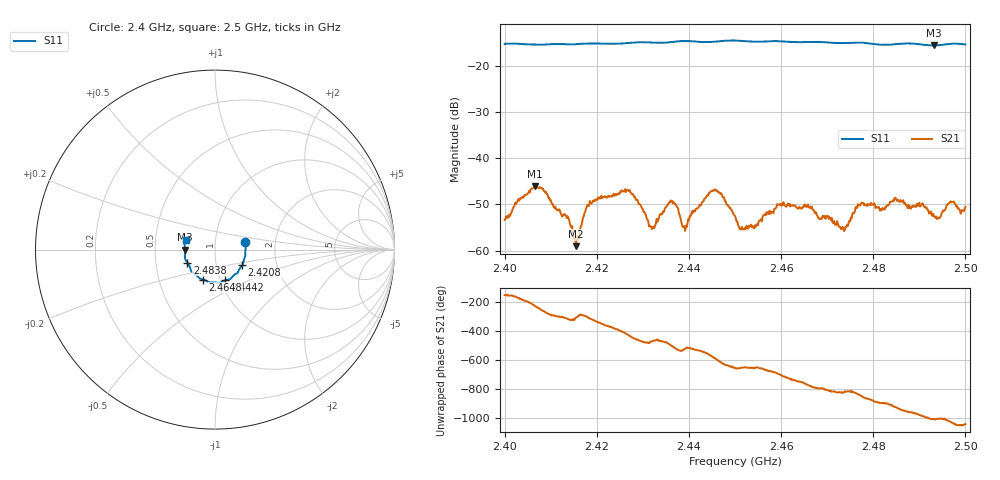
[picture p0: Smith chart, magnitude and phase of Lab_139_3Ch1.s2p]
# Hz S RI R 50
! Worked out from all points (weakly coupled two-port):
!   601 points, 2.4 GHz to 2.5 GHz, reference 50 ohm
!   highest |S21| = -46.02 dB at 2.4065 GHz (marker M1); lowest = -59.0 dB at 2.4155 GHz (marker M2)
!   lowest |S11| = -15.6 dB at 2.4932 GHz (marker M3), VSWR 1.40, Z = 35.8 - j0.0773 ohm
!   |S11| at or under -10 dB: start of sweep to end of sweep
!   S12 and S22 are empty: the file has one direction only
!   S11 on the Smith chart (normalised r, x): 2.4 GHz: 1.40, +0.12; 2.4208 GHz: 1.33, -0.24; 2.4442 GHz: 1.05, -0.37; 2.4648 GHz: 0.83, -0.29; 2.4838 GHz: 0.73, -0.11; 2.5 GHz: 0.72, +0.08
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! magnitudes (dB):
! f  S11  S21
! 2.4 GHz  -15.3  -53.3
! 2.4065 GHz  -15.4  -46.0
! 2.4155 GHz  -15.3  -59.0
! 2.4167 GHz  -15.2  -54.6
! 2.4208 GHz  -15.2  -48.7
! 2.4267 GHz  -15.1  -46.9
! 2.4318 GHz  -15.0  -54.8
! 2.4333 GHz  -15.0  -53.4
! 2.4365 GHz  -14.8  -49.7
! 2.4392 GHz  -14.6  -55.7
! 2.4442 GHz  -14.9  -48.1
! 2.4467 GHz  -14.7  -47.6
! 2.45 GHz  -14.5  -52.5
! 2.4518 GHz  -14.6  -55.4
! 2.4648 GHz  -14.9  -50.4
! 2.4667 GHz  -14.8  -50.5
! 2.4735 GHz  -15.1  -55.3
! 2.4772 GHz  -15.0  -50.2
! 2.4833 GHz  -15.5  -50.2
! 2.4838 GHz  -15.4  -49.4
! 2.4932 GHz  -15.6  -52.5
! 2.5 GHz  -15.4  -50.5
